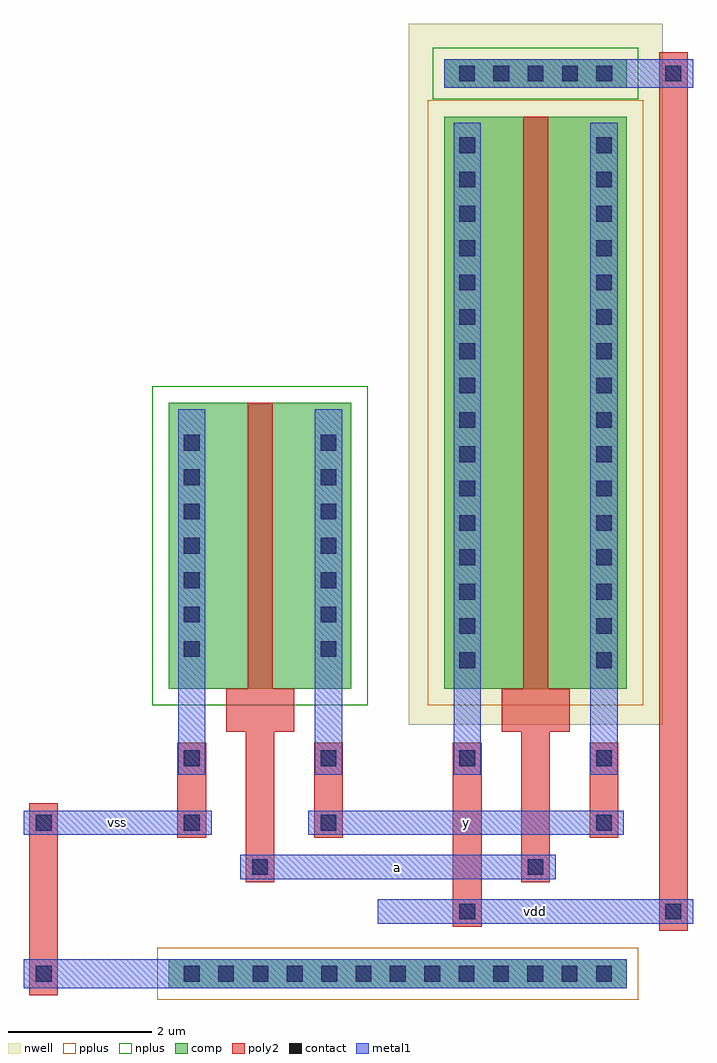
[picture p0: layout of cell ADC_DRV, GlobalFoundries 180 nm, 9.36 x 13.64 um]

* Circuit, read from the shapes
.subckt ADC_DRV a vdd vss y
XM1 y a vss vss nfet_03v3 w=4u l=0.35u
XM2 y a vdd vdd pfet_03v3 w=8u l=0.35u
.ends

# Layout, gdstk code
import gdstk
lib = gdstk.Library(unit=1e-6, precision=1e-09)
def R(c, l, rs):  # rectangles x0, y0, x1, y1
    for r in rs: c.add(gdstk.rectangle(r[:2], r[2:], *l))
def A(c, l, x, y, w, h, nx, ny, dx, dy):  # array of equal rectangles
    R(c, l, [(x+i*dx, y+j*dy, x+i*dx+w, y+j*dy+h) for i in range(nx) for j in range(ny)])
nwell = (21, 0)
comp = (22, 0)
poly2 = (30, 0)
pplus = (31, 0)
nplus = (32, 0)
contact = (33, 0)
metal1 = (34, 0)

adc_drv = lib.new_cell('ADC_DRV')
R(adc_drv, nwell, [(3.35,-0.5,6.9,9.3)])
R(adc_drv, comp, [(0,-4.18,6.4,-3.78), (0,0,2.55,4), (3.85,0,6.4,8), (3.85,8.4,6.4,8.8)])
R(adc_drv, poly2, [(-1.95,-4.28,-1.55,-1.6), (6.85,-3.38,7.25,8.9), (3.97,-3.32,4.37,-1.2), (1.075,-2.7,1.475,-1.2), (4.925,-2.7,5.325,-1.2), (0.12,-2.08,0.52,-1.2), (2.03,-2.08,2.43,-1.2), (5.88,-2.08,6.28,-1.2), (0.12,-1.2,0.52,-0.75), (1.075,-1.2,1.475,-0.6), (2.03,-1.2,2.43,-0.75), (3.97,-1.2,4.37,-0.75), (4.925,-1.2,5.325,-0.6), (5.88,-1.2,6.28,-0.75), (0.8,-0.6,1.75,0), (4.65,-0.6,5.6,0), (1.1,0,1.45,4), (4.95,0,5.3,8)])
R(adc_drv, pplus, [(-0.16,-4.34,6.56,-3.62), (3.62,-0.23,6.63,8.23)])
R(adc_drv, nplus, [(-0.23,-0.23,2.78,4.23), (3.69,8.24,6.56,8.96)])
A(adc_drv, contact, 0.21, -4.09, 0.22, 0.22, 13, 1, 0.48, 0)
A(adc_drv, contact, 4.06, 0.29, 0.22, 0.22, 1, 16, 0, 0.48)
A(adc_drv, contact, 5.97, 0.29, 0.22, 0.22, 1, 16, 0, 0.48)
A(adc_drv, contact, 0.21, 0.45, 0.22, 0.22, 1, 7, 0, 0.48)
A(adc_drv, contact, 2.12, 0.45, 0.22, 0.22, 1, 7, 0, 0.48)
A(adc_drv, contact, 4.055, 8.49, 0.22, 0.22, 5, 1, 0.48, 0)
R(adc_drv, contact, [(-1.86,-4.09,-1.64,-3.87), (4.06,-3.22,4.28,-3), (6.94,-3.22,7.16,-3), (1.165,-2.6,1.385,-2.38), (5.015,-2.6,5.235,-2.38), (-1.86,-1.98,-1.64,-1.76), (0.21,-1.98,0.43,-1.76), (2.12,-1.98,2.34,-1.76), (5.97,-1.98,6.19,-1.76), (0.21,-1.08,0.43,-0.86), (2.12,-1.08,2.34,-0.86), (4.06,-1.08,4.28,-0.86), (5.97,-1.08,6.19,-0.86), (6.94,8.49,7.16,8.71)])
R(adc_drv, metal1, [(-2.03,-4.18,6.4,-3.78), (2.92,-3.28,7.33,-2.94), (0.995,-2.66,5.405,-2.32), (-2.03,-2.04,0.6,-1.7), (1.95,-2.04,6.36,-1.7), (0.13,-1.2,0.51,0.09), (2.04,-1.2,2.42,0.09), (3.98,-1.2,4.36,0.09), (5.89,-1.2,6.27,0.09), (0.13,0.09,0.51,3.91), (2.04,0.09,2.42,3.91), (3.98,0.09,4.36,7.91), (5.89,0.09,6.27,7.91), (3.85,8.4,6.4,8.8), (3.85,8.4,7.33,8.8)])
adc_drv.add(gdstk.Label('vss', (-0.715,-1.87), layer=34, texttype=10))
adc_drv.add(gdstk.Label('a', (3.2,-2.49), layer=34, texttype=10))
adc_drv.add(gdstk.Label('y', (4.155,-1.87), layer=34, texttype=10))
adc_drv.add(gdstk.Label('vdd', (5.125,-3.11), layer=34, texttype=10))

lib.write_gds('ADC_DRV.gds')
